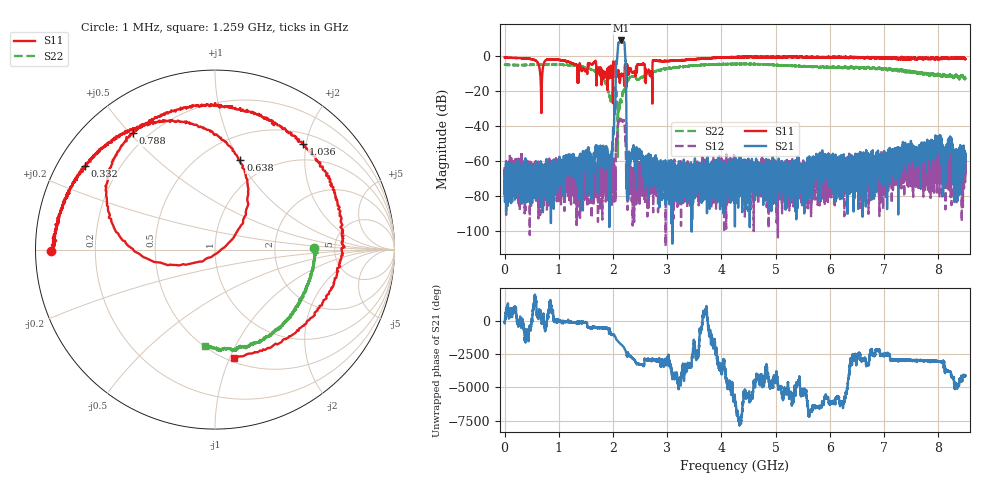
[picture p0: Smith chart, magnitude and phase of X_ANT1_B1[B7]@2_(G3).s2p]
#  HZ  S  RI  R  50.00
! Rohde & Schwarz Vector Network Analyzer
! Rohde-Schwarz,ZNBT8-20Port,1318700624101681,3.50
! Created: UTC 7/15/2025, 2:12:50 PM
! freq[Hz]  re:S1010  im:S1010  re:S0510  im:S0510  re:S1005  im:S1005  re:S55  im:S55
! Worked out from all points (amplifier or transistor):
!   8500 points, 1 MHz to 8.5 GHz, reference 50 ohm
!   highest |S21| = 8.9 dB at 2.143 GHz (marker M1)
!   |S21| within 3 dB of that: 2.093 GHz to 2.215 GHz (122.1 MHz wide, 5.67 % of centre)
!   unconditionally stable (mu >= 1): start of sweep to end of sweep
!   at 1.417 GHz: K = 2071615.37, MAG = -55.6 dB, |S12| = -78.7 dB
!   at 4.251 GHz: K = 493334.73, MAG = -57.7 dB, |S12| = -72.9 dB
!   at 8.5 GHz: K = 107246.86, MAG = -53.6 dB, |S12| = -58.1 dB
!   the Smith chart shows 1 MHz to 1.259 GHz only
!   S11 on the Smith chart (normalised r, x): 1 MHz: 0.05, -0.00; 332 MHz: 0.08, +0.29; 638 MHz: 0.74, +1.01; 788 MHz: 0.15, +0.51; 1.036 GHz: 0.69, +1.94; 1.259 GHz: 0.54, -1.04
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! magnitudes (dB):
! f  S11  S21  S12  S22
! 1 MHz  -0.8  -74.1  -69.6  -5.2
! 332 MHz  -1.3  -83.8  -77.3  -5.2
! 638 MHz  -5.7  -70.3  -86.5  -5.0
! 788 MHz  -2.0  -66.3  -66.7  -4.9
! 1.036 GHz  -2.3  -65.1  -71.5  -5.0
! 1.259 GHz  -4.3  -61.2  -67.8  -5.3
! 1.418 GHz  -8.2  -60.4  -71.2  -6.0
! 1.954 GHz  -6.9  -57.4  -74.2  -25.0
! 2.011 GHz  -3.5  -42.9  -73.9  -18.7
! 2.089 GHz  -9.5  4.1  -40.5  -53.5
! 2.143 GHz  -11.6  8.9  -36.1  -25.8
! 2.205 GHz  -14.5  7.7  -37.4  -19.2
! 2.292 GHz  -10.5  -57.9  -68.5  -13.2
! 2.834 GHz  -2.9  -69.5  -70.0  -8.1
! 4.251 GHz  -0.6  -68.5  -72.9  -4.5
! 5.667 GHz  -0.4  -64.8  -63.5  -6.2
! 7.084 GHz  -1.1  -59.3  -71.3  -7.3
! 8.009 GHz  -1.2  -46.2  -63.6  -10.7
! 8.111 GHz  -1.1  -74.2  -66.4  -10.3
! 8.22 GHz  -1.2  -46.6  -59.7  -10.9
! 8.319 GHz  -1.3  -62.7  -60.6  -11.4
! 8.5 GHz  -1.7  -58.8  -58.1  -12.2
